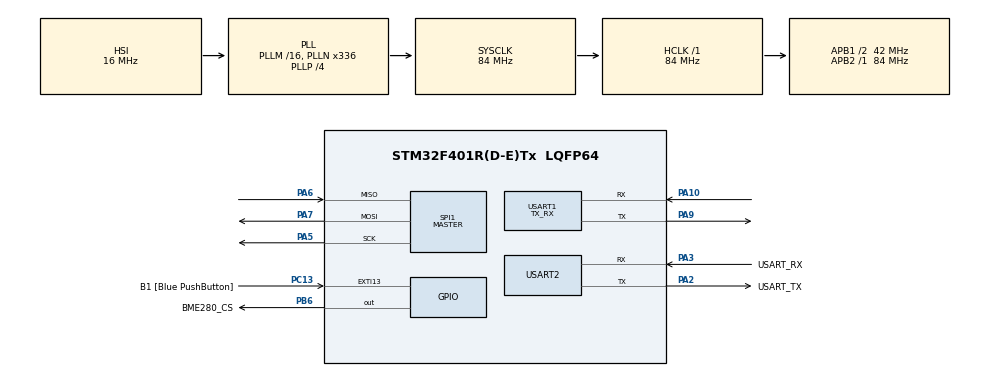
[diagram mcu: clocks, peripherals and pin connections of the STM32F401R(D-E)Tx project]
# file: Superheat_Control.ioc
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FREERTOS.Queues01=SimTempQueue,1,double,0,Dynamic,NULL,NULL;ValveOutputQueue,1,double,0,Dynamic,NULL,NULL
FREERTOS.Tasks01=LinkTask,32,512,StartLinkTask,Default,NULL,Dynamic,NULL,NULL;SensorTask,24,256,StartSensorTask,Default,NULL,Dynamic,NULL,NULL;ControlTask,24,512,StartControlTask,Default,NULL,Dynamic,NULL,NULL
Mcu.Family=STM32F4
Mcu.Name=STM32F401R(D-E)Tx
Mcu.Package=LQFP64
NVIC.PriorityGroup=NVIC_PRIORITYGROUP_4
NVIC.USART1_IRQn=true\:5\:0\:false\:false\:true\:true\:true\:true\:true
PA10.Mode=Asynchronous
PA10.Signal=USART1_RX
PA13.GPIO_Label=TMS
PA13.Mode=Trace_Asynchronous_SW
PA13.Signal=SYS_JTMS-SWDIO
PA14.GPIO_Label=TCK
PA14.Mode=Trace_Asynchronous_SW
PA14.Signal=SYS_JTCK-SWCLK
PA2.GPIO_Label=USART_TX
PA2.GPIO_Mode=GPIO_MODE_AF_PP
PA2.GPIO_PuPd=GPIO_NOPULL
PA2.GPIO_Speed=GPIO_SPEED_FREQ_LOW
PA2.Mode=Asynchronous
PA2.Signal=USART2_TX
PA3.GPIO_Label=USART_RX
PA3.GPIO_Mode=GPIO_MODE_AF_PP
PA3.GPIO_PuPd=GPIO_NOPULL
PA3.GPIO_Speed=GPIO_SPEED_FREQ_LOW
PA3.Mode=Asynchronous
PA3.Signal=USART2_RX
PA5.Mode=Full_Duplex_Master
PA5.Signal=SPI1_SCK
PA6.Mode=Full_Duplex_Master
PA6.Signal=SPI1_MISO
PA7.Mode=Full_Duplex_Master
PA7.Signal=SPI1_MOSI
PA9.Mode=Asynchronous
PA9.Signal=USART1_TX
PB3.GPIO_Label=SWO
PB3.Mode=Trace_Asynchronous_SW
PB3.Signal=SYS_JTDO-SWO
PB6.GPIO_Label=BME280_CS
PB6.GPIO_ModeDefaultOutputPP=GPIO_MODE_OUTPUT_PP
PB6.GPIO_PuPd=GPIO_NOPULL
PB6.Signal=GPIO_Output
PC13-ANTI_TAMP.GPIO_Label=B1 [Blue PushButton]
PC13-ANTI_TAMP.GPIO_ModeDefaultEXTI=GPIO_MODE_IT_FALLING
PC13-ANTI_TAMP.GPIO_PuPd=GPIO_NOPULL
PC13-ANTI_TAMP.Signal=GPXTI13
PC14-OSC32_IN.Mode=LSE-External-Oscillator
PC14-OSC32_IN.Signal=RCC_OSC32_IN
PC15-OSC32_OUT.Mode=LSE-External-Oscillator
PC15-OSC32_OUT.Signal=RCC_OSC32_OUT
PH0\ -\ OSC_IN.Mode=HSE-External-Clock-Source
PH0\ -\ OSC_IN.Signal=RCC_OSC_IN
PH1\ -\ OSC_OUT.Mode=HSE-External-Clock-Source
PH1\ -\ OSC_OUT.Signal=RCC_OSC_OUT
ProjectManager.HeapSize=0x200
ProjectManager.StackSize=0x400
ProjectManager.TargetToolchain=CMake
RCC.48MHZClocksFreq_Value=48000000
RCC.AHBFreq_Value=84000000
RCC.APB1CLKDivider=RCC_HCLK_DIV2
RCC.APB1Freq_Value=42000000
RCC.APB1TimFreq_Value=84000000
RCC.APB2Freq_Value=84000000
RCC.APB2TimFreq_Value=84000000
RCC.CortexFreq_Value=84000000
RCC.HCLKFreq_Value=84000000
RCC.HSE_VALUE=8000000
RCC.HSI_VALUE=16000000
RCC.PLLN=336
RCC.PLLP=RCC_PLLP_DIV4
RCC.PLLQ=7
RCC.SYSCLKFreq_VALUE=84000000
RCC.SYSCLKSource=RCC_SYSCLKSOURCE_PLLCLK
RCC.VCOOutputFreq_Value=336000000
SPI1.BaudRatePrescaler=SPI_BAUDRATEPRESCALER_16
SPI1.CLKPhase=SPI_PHASE_1EDGE
SPI1.CLKPolarity=SPI_POLARITY_LOW
SPI1.DataSize=SPI_DATASIZE_8BIT
SPI1.Direction=SPI_DIRECTION_2LINES
SPI1.FirstBit=SPI_FIRSTBIT_MSB
SPI1.Mode=SPI_MODE_MASTER
SPI1.VirtualType=VM_MASTER
USART1.Mode=MODE_TX_RX
USART1.OverSampling=UART_OVERSAMPLING_16
USART1.Parity=PARITY_NONE
USART1.StopBits=STOPBITS_1
USART1.VirtualMode=VM_ASYNC
USART1.WordLength=WORDLENGTH_8B
USART2.VirtualMode=VM_ASYNC
VP_FREERTOS_VS_CMSIS_V2.Mode=CMSIS_V2
board=NUCLEO-F401RE

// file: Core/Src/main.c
/* USER CODE BEGIN Header */
/**
  ******************************************************************************
  * @file           : main.c
  * @brief          : Main program body
  ******************************************************************************
  * @attention
  *
  * Copyright (c) 2026 STMicroelectronics.
  * All rights reserved.
  *
  * This software is licensed under terms that can be found in the LICENSE file
  * in the root directory of this software component.
  * If no LICENSE file comes with this software, it is provided AS-IS.
  *
  ******************************************************************************
  */
/* USER CODE END Header */
#include "main.h"
#include "cmsis_os.h"

/* USER CODE BEGIN Includes */
#include "pid.h"
#include "bme280.h"
#include "i2c1_bus.h"
#include "lcd2004.h"
#include "FreeRTOS.h"
#include "task.h"
#include <math.h>
#include <stdio.h>
#include <string.h>
/* USER CODE END Includes */

/* USER CODE BEGIN PD */
#define PID_KP        0.1
#define PID_KI        0.015
#define PID_TS        1.0
#define PID_OUT_MIN   0.1
#define PID_OUT_MAX   0.9

#define LINK_RX_BUF_LEN   32
#define SETPOINT_DEGC     10.0 /* superheat setpoint, degC */
/* USER CODE END PD */

SPI_HandleTypeDef hspi1;

UART_HandleTypeDef huart1;
UART_HandleTypeDef huart2;

/* Definitions for LinkTask */
osThreadId_t LinkTaskHandle;
const osThreadAttr_t LinkTask_attributes = {
  .name = "LinkTask",
  .stack_size = 512 * 4,
  .priority = (osPriority_t) osPriorityAboveNormal,
};
/* Definitions for SensorTask */
osThreadId_t SensorTaskHandle;
const osThreadAttr_t SensorTask_attributes = {
  .name = "SensorTask",
  .stack_size = 256 * 4,
  .priority = (osPriority_t) osPriorityNormal,
};
/* Definitions for ControlTask */
osThreadId_t ControlTaskHandle;
const osThreadAttr_t ControlTask_attributes = {
  .name = "ControlTask",
  .stack_size = 512 * 4,
  .priority = (osPriority_t) osPriorityNormal,
};
/* Definitions for SimTempQueue */
osMessageQueueId_t SimTempQueueHandle;
const osMessageQueueAttr_t SimTempQueue_attributes = {
  .name = "SimTempQueue"
};
/* Definitions for ValveOutputQueue */
osMessageQueueId_t ValveOutputQueueHandle;
const osMessageQueueAttr_t ValveOutputQueue_attributes = {
  .name = "ValveOutputQueue"
};
/* USER CODE BEGIN PV */
static PID_t pid;

/* Interrupt-driven USART1 line reception. HAL_UART_Receive_IT is re-armed for
 * one byte at a time from the RxCpltCallback, so incoming bytes are captured
 * by the peripheral/ISR regardless of what the main loop is doing, avoiding
 * the overrun that polling HAL_UART_Receive suffered from. When a full line is
 * assembled the ISR sends LinkTask a task notification, so LinkTask blocks
 * until the line is ready instead of polling link_rx_line_ready. */
static uint8_t link_rx_byte;
static char link_rx_line[LINK_RX_BUF_LEN];
static volatile uint16_t link_rx_len = 0;
static volatile uint8_t link_rx_line_ready = 0;

/* Latest BME280 ambient reading, written by SensorTask and read by LinkTask
 * (sent to Board 2 as the plant's load disturbance) and ControlTask (logged).
 * Kept as a float rather than a double on purpose: an aligned 32-bit load or
 * store is a single atomic access on the Cortex-M4, so readers can never see
 * a half-written value and no mutex is needed. NAN means "no valid reading"
 * (sensor missing or bus error), in which case Board 2 is sent no ambient. */
static volatile float latest_bme280_degC = NAN;
static int bme280_ok = 0;

/* Latest loop values for the LCD, written by ControlTask and read by
 * DisplayTask. Floats for the same single-access atomicity reason as above. */
static volatile float display_superheat_degC = NAN;
static volatile float display_valve = NAN;

/* DisplayTask is created in the RTOS_THREADS user section rather than through
 * CubeMX, so its definition lives here instead of in the generated block. */
osThreadId_t DisplayTaskHandle;
const osThreadAttr_t DisplayTask_attributes = {
  .name = "DisplayTask",
  .stack_size = 512 * 4, /* snprintf float formatting is stack-heavy */
  .priority = (osPriority_t) osPriorityBelowNormal,
};
/* USER CODE END PV */

void SystemClock_Config(void);
static void MX_GPIO_Init(void);
static void MX_USART2_UART_Init(void);
static void MX_SPI1_Init(void);
static void MX_USART1_UART_Init(void);
void StartLinkTask(void *argument);
void StartSensorTask(void *argument);
void StartControlTask(void *argument);

/* USER CODE BEGIN PFP */
static void StartDisplayTask(void *argument);
/* USER CODE END PFP */

/* USER CODE BEGIN 0 */
void vApplicationStackOverflowHook(TaskHandle_t xTask, char *pcTaskName)
{
  (void)xTask;
  printf("!!! STACK OVERFLOW in task: %s\r\n", pcTaskName);
  __disable_irq();
  for (;;) { }
}

void vApplicationMallocFailedHook(void)
{
  printf("!!! FreeRTOS heap allocation failed (out of heap)\r\n");
  __disable_irq();
  for (;;) { }
}

int __io_putchar(int ch)
{
  HAL_UART_Transmit(&huart2, (uint8_t *)&ch, 1, HAL_MAX_DELAY);
  return ch;
}

/* Called from USART1_IRQHandler via HAL_UART_IRQHandler whenever one byte has
 * been received. Assembles line_rx_line and re-arms the next single-byte
 * receive so bytes are never missed while the main loop is busy elsewhere. */
void HAL_UART_RxCpltCallback(UART_HandleTypeDef *huart)
{
  if (huart->Instance != USART1)
  {
    return;
  }

  uint8_t ch = link_rx_byte;
  BaseType_t higher_priority_woken = pdFALSE;

  if (!link_rx_line_ready)
  {
    if (ch == '\n')
    {
      link_rx_line[link_rx_len] = '\0';
      link_rx_line_ready = 1;

      /* Wake LinkTask. USART1 runs at NVIC priority 5, which is allowed to
       * call FromISR APIs (configMAX_SYSCALL_INTERRUPT_PRIORITY). The guard
       * covers bytes arriving before the scheduler has started. */
      if ((LinkTaskHandle != NULL) &&
          (xTaskGetSchedulerState() != taskSCHEDULER_NOT_STARTED))
      {
        vTaskNotifyGiveFromISR((TaskHandle_t)LinkTaskHandle, &higher_priority_woken);
      }
    }
    else if (ch != '\r')
    {
      if (link_rx_len < LINK_RX_BUF_LEN - 1)
      {
        link_rx_line[link_rx_len++] = (char)ch;
      }
      else
      {
        /* Line too long: drop it and resync on the next '\n'. */
        link_rx_len = 0;
      }
    }
  }

  HAL_UART_Receive_IT(&huart1, &link_rx_byte, 1);

  /* If LinkTask outranks the interrupted task, switch to it on exit. */
  portYIELD_FROM_ISR(higher_priority_woken);
}

/* Blocks (with a 500 ms timeout) until HAL_UART_RxCpltCallback has assembled
 * one "<tick>,<value>\r\n" line from USART1 and notified this task. Returns 1
 * on success. The flag is re-checked after each wake-up, so a stale
 * notification left over from an earlier late reply can't end the wait early. */
static int Link_ReceiveLine(unsigned long *tick, double *value)
{
  uint32_t start = HAL_GetTick();

  while (!link_rx_line_ready)
  {
    uint32_t elapsed = HAL_GetTick() - start;

    if (elapsed >= 500)
    {
      return 0;
    }

    ulTaskNotifyTake(pdTRUE, pdMS_TO_TICKS(500 - elapsed));
  }

  int ok = (link_rx_len > 0) && (sscanf(link_rx_line, "%lu,%lf", tick, value) == 2);

  link_rx_len = 0;
  link_rx_line_ready = 0;

  return ok;
}

/* Sends "<tick>,<valve>,<ambient>\r\n" to Board 2, or "<tick>,<valve>\r\n"
 * when there is no valid ambient reading - Board 2 then holds the last
 * disturbance it received. */
static void Link_SendLine(unsigned long tick, double value, float ambient_degC)
{
  char out[LINK_RX_BUF_LEN];
  int n;

  if (isnan(ambient_degC))
  {
    n = snprintf(out, sizeof(out), "%lu,%.4f\r\n", tick, value);
  }
  else
  {
    n = snprintf(out, sizeof(out), "%lu,%.4f,%.2f\r\n", tick, value, (double)ambient_degC);
  }

  if (n < 0 || n >= (int)sizeof(out))
  {
    return; /* would have been truncated - never send a partial frame */
  }

  HAL_UART_Transmit(&huart1, (uint8_t *)out, (uint16_t)n, 100);
}
/* USER CODE END 0 */

int main(void)
{

  /* MCU Configuration--------------------------------------------------------*/

  /* Reset of all peripherals, Initializes the Flash interface and the Systick. */
  HAL_Init();

  /* Configure the system clock */
  SystemClock_Config();

  /* Initialize all configured peripherals */
  MX_GPIO_Init();
  MX_USART2_UART_Init();
  MX_SPI1_Init();
  MX_USART1_UART_Init();
  /* USER CODE BEGIN 2 */
  HAL_UART_Receive_IT(&huart1, &link_rx_byte, 1);

  uint8_t chip_id = 0;
  bme280_ok = (BME280_Init(&bme280_bus, &chip_id) == 0);
  if (bme280_ok)
  {
    printf("# BME280 over %s, chip_id=0x%02X\r\n", bme280_bus.name, chip_id);
  }
  else
  {
    printf("# BME280 over %s not found (chip_id=0x%02X, expect 0x%02X) - running without ambient disturbance\r\n",
           bme280_bus.name, chip_id, BME280_CHIP_ID_VALUE);
  }

  PID_Init(&pid, PID_KP, PID_KI, PID_TS, PID_OUT_MIN, PID_OUT_MAX);

  printf("tick,bme280_degC,plant_degC,valve,setpoint_degC\r\n");
  /* USER CODE END 2 */

  /* Init scheduler */
  osKernelInitialize();

  /* USER CODE BEGIN RTOS_MUTEX */
  /* SensorTask (I2C build) and DisplayTask share I2C1 */
  I2C1_CreateMutex();
  /* USER CODE END RTOS_MUTEX */

  /* Create the queue(s) */
  /* creation of SimTempQueue */
  SimTempQueueHandle = osMessageQueueNew (1, sizeof(double), &SimTempQueue_attributes);

  /* creation of ValveOutputQueue */
  ValveOutputQueueHandle = osMessageQueueNew (1, sizeof(double), &ValveOutputQueue_attributes);

  /* Create the thread(s) */
  /* creation of LinkTask */
  LinkTaskHandle = osThreadNew(StartLinkTask, NULL, &LinkTask_attributes);

  /* creation of SensorTask */
  SensorTaskHandle = osThreadNew(StartSensorTask, NULL, &SensorTask_attributes);

  /* creation of ControlTask */
  ControlTaskHandle = osThreadNew(StartControlTask, NULL, &ControlTask_attributes);

  /* USER CODE BEGIN RTOS_THREADS */
  DisplayTaskHandle = osThreadNew(StartDisplayTask, NULL, &DisplayTask_attributes);
  /* USER CODE END RTOS_THREADS */

  /* Start scheduler */
  osKernelStart();

  /* We should never get here as control is now taken by the scheduler */

  /* Infinite loop */
  while (1)
  {

  }
}

void SystemClock_Config(void)
{
  RCC_OscInitTypeDef RCC_OscInitStruct = {0};
  RCC_ClkInitTypeDef RCC_ClkInitStruct = {0};

  /** Configure the main internal regulator output voltage
  */
  __HAL_RCC_PWR_CLK_ENABLE();
  __HAL_PWR_VOLTAGESCALING_CONFIG(PWR_REGULATOR_VOLTAGE_SCALE2);

  /** Initializes the RCC Oscillators according to the specified parameters
  * in the RCC_OscInitTypeDef structure.
  */
  RCC_OscInitStruct.OscillatorType = RCC_OSCILLATORTYPE_HSI;
  RCC_OscInitStruct.HSIState = RCC_HSI_ON;
  RCC_OscInitStruct.HSICalibrationValue = RCC_HSICALIBRATION_DEFAULT;
  RCC_OscInitStruct.PLL.PLLState = RCC_PLL_ON;
  RCC_OscInitStruct.PLL.PLLSource = RCC_PLLSOURCE_HSI;
  RCC_OscInitStruct.PLL.PLLM = 16;
  RCC_OscInitStruct.PLL.PLLN = 336;
  RCC_OscInitStruct.PLL.PLLP = RCC_PLLP_DIV4;
  RCC_OscInitStruct.PLL.PLLQ = 7;
  if (HAL_RCC_OscConfig(&RCC_OscInitStruct) != HAL_OK)
  {
    Error_Handler();
  }

  /** Initializes the CPU, AHB and APB buses clocks
  */
  RCC_ClkInitStruct.ClockType = RCC_CLOCKTYPE_HCLK|RCC_CLOCKTYPE_SYSCLK
                              |RCC_CLOCKTYPE_PCLK1|RCC_CLOCKTYPE_PCLK2;
  RCC_ClkInitStruct.SYSCLKSource = RCC_SYSCLKSOURCE_PLLCLK;
  RCC_ClkInitStruct.AHBCLKDivider = RCC_SYSCLK_DIV1;
  RCC_ClkInitStruct.APB1CLKDivider = RCC_HCLK_DIV2;
  RCC_ClkInitStruct.APB2CLKDivider = RCC_HCLK_DIV1;

  if (HAL_RCC_ClockConfig(&RCC_ClkInitStruct, FLASH_LATENCY_2) != HAL_OK)
  {
    Error_Handler();
  }
}

static void MX_SPI1_Init(void)
{

  /* SPI1 parameter configuration*/
  hspi1.Instance = SPI1;
  hspi1.Init.Mode = SPI_MODE_MASTER;
  hspi1.Init.Direction = SPI_DIRECTION_2LINES;
  hspi1.Init.DataSize = SPI_DATASIZE_8BIT;
  hspi1.Init.CLKPolarity = SPI_POLARITY_LOW;
  hspi1.Init.CLKPhase = SPI_PHASE_1EDGE;
  hspi1.Init.NSS = SPI_NSS_SOFT;
  hspi1.Init.BaudRatePrescaler = SPI_BAUDRATEPRESCALER_16;
  hspi1.Init.FirstBit = SPI_FIRSTBIT_MSB;
  hspi1.Init.TIMode = SPI_TIMODE_DISABLE;
  hspi1.Init.CRCCalculation = SPI_CRCCALCULATION_DISABLE;
  hspi1.Init.CRCPolynomial = 10;
  if (HAL_SPI_Init(&hspi1) != HAL_OK)
  {
    Error_Handler();
  }

}

static void MX_USART1_UART_Init(void)
{

  huart1.Instance = USART1;
  huart1.Init.BaudRate = 115200;
  huart1.Init.WordLength = UART_WORDLENGTH_8B;
  huart1.Init.StopBits = UART_STOPBITS_1;
  huart1.Init.Parity = UART_PARITY_NONE;
  huart1.Init.Mode = UART_MODE_TX_RX;
  huart1.Init.HwFlowCtl = UART_HWCONTROL_NONE;
  huart1.Init.OverSampling = UART_OVERSAMPLING_16;
  if (HAL_UART_Init(&huart1) != HAL_OK)
  {
    Error_Handler();
  }

}

static void MX_USART2_UART_Init(void)
{

  huart2.Instance = USART2;
  huart2.Init.BaudRate = 115200;
  huart2.Init.WordLength = UART_WORDLENGTH_8B;
  huart2.Init.StopBits = UART_STOPBITS_1;
  huart2.Init.Parity = UART_PARITY_NONE;
  huart2.Init.Mode = UART_MODE_TX_RX;
  huart2.Init.HwFlowCtl = UART_HWCONTROL_NONE;
  huart2.Init.OverSampling = UART_OVERSAMPLING_16;
  if (HAL_UART_Init(&huart2) != HAL_OK)
  {
    Error_Handler();
  }

}

static void MX_GPIO_Init(void)
{
  GPIO_InitTypeDef GPIO_InitStruct = {0};

  /* GPIO Ports Clock Enable */
  __HAL_RCC_GPIOC_CLK_ENABLE();
  __HAL_RCC_GPIOH_CLK_ENABLE();
  __HAL_RCC_GPIOA_CLK_ENABLE();
  __HAL_RCC_GPIOB_CLK_ENABLE();

  /*Configure GPIO pin Output Level */
  HAL_GPIO_WritePin(BME280_CS_GPIO_Port, BME280_CS_Pin, GPIO_PIN_RESET);

  /*Configure GPIO pin : B1_Pin */
  GPIO_InitStruct.Pin = B1_Pin;
  GPIO_InitStruct.Mode = GPIO_MODE_IT_FALLING;
  GPIO_InitStruct.Pull = GPIO_NOPULL;
  HAL_GPIO_Init(B1_GPIO_Port, &GPIO_InitStruct);

  /*Configure GPIO pin : BME280_CS_Pin */
  GPIO_InitStruct.Pin = BME280_CS_Pin;
  GPIO_InitStruct.Mode = GPIO_MODE_OUTPUT_PP;
  GPIO_InitStruct.Pull = GPIO_NOPULL;
  GPIO_InitStruct.Speed = GPIO_SPEED_FREQ_LOW;
  HAL_GPIO_Init(BME280_CS_GPIO_Port, &GPIO_InitStruct);

}

/* USER CODE BEGIN 4 */
static void rtos_delay_ms(uint32_t ms)
{
  osDelay(ms); /* configTICK_RATE_HZ is 1000, so ticks == ms */
}

/* One LCD row as a label, a right-aligned value and a unit, e.g.
 * "Superheat   10.2 °C". NaN (no data yet) shows as "--.-". */
static void DisplayRow(uint8_t row, const char *label, float value, const char *unit)
{
  char line[LCD2004_COLS + 1];

  if (isnan(value))
  {
    snprintf(line, sizeof(line), "%-10s  --.- %s", label, unit);
  }
  else
  {
    snprintf(line, sizeof(line), "%-10s%6.1f %s", label, (double)value, unit);
  }
  LCD2004_WriteLine(row, line);
}

/* Shows the live loop state on the 20x4 LCD:
 *   Superheat   10.2 °C
 *   Setpoint    10.0 °C
 *   Valve       50.0 %
 *   Ambient     23.4 °C
 * Lowest-priority task, since the display is for the operator only and must
 * never delay the control or link tasks. */
static void StartDisplayTask(void *argument)
{
  (void)argument;
  /* 0xDF is the degree sign in the HD44780's A00 character ROM. Kept as a
   * separate literal so the hex escape doesn't swallow the 'C'. */
  static const char deg_c[] = "\xDF" "C";

  if (LCD2004_Init(rtos_delay_ms) != 0)
  {
    printf("# LCD not found at I2C address 0x%02X - display disabled\r\n", LCD2004_I2C_ADDR);
    osThreadExit();
  }

  for (;;)
  {
    float valve = display_valve;

    DisplayRow(0, "Superheat", display_superheat_degC, deg_c);
    DisplayRow(1, "Setpoint", (float)SETPOINT_DEGC, deg_c);
    DisplayRow(2, "Valve", isnan(valve) ? valve : valve * 100.0f, "%");
    DisplayRow(3, "Ambient", latest_bme280_degC, deg_c);

    osDelay(500);
  }
}
/* USER CODE END 4 */

void StartLinkTask(void *argument)
{
  /* USER CODE BEGIN 5 */
  unsigned long tick = 0;
  double valve_output = PID_OUT_MIN;

  for(;;)
  {
    /* Pick up the latest valve output computed by ControlTask, if any new
     * one is available; otherwise keep sending the last known value. */
    osMessageQueueGet(ValveOutputQueueHandle, &valve_output, NULL, 0);

    unsigned long echoed_tick = 0;
    double received_temp = 0.0;

    Link_SendLine(tick, valve_output, latest_bme280_degC);

    if (Link_ReceiveLine(&echoed_tick, &received_temp))
    {
      osMessageQueueReset(SimTempQueueHandle);
      osMessageQueuePut(SimTempQueueHandle, &received_temp, 0, 0);
    }
    else
    {
      printf("# HIL link: malformed/missing frame, holding last simulated_temp\r\n");
    }

    tick++;
    osDelay(1000);
  }
  /* USER CODE END 5 */
}

void StartSensorTask(void *argument)
{
  /* USER CODE BEGIN StartSensorTask */
  for(;;)
  {
    if (!bme280_ok)
    {
      osDelay(1000); /* no sensor found at startup - nothing to sample */
      continue;
    }

    /* Forced mode powers down after one measurement; re-trigger each cycle */
    double temp_degC = 0.0;
    int ok = (BME280_TriggerMeasurement() == 0);
    osDelay(BME280_MEAS_TIME_MS); /* allow conversion to complete */

    if (ok && BME280_ReadTemperature(&temp_degC) == 0)
    {
      latest_bme280_degC = (float)temp_degC;
    }
    else
    {
      /* A bus error invalidates the reading rather than freezing the last
       * value, so Board 2 stops being fed a stale disturbance. */
      latest_bme280_degC = NAN;
    }

    osDelay(1000 - BME280_MEAS_TIME_MS); /* sample once per second overall */
  }
  /* USER CODE END StartSensorTask */
}

void StartControlTask(void *argument)
{
  /* USER CODE BEGIN StartControlTask */
  unsigned long tick = 0;
  double simulated_temp = 0.0;

  for(;;)
  {
    /* Use the latest simulated temp from LinkTask if a new one arrived
     * since last cycle; otherwise hold the previous value. */
    osMessageQueueGet(SimTempQueueHandle, &simulated_temp, NULL, 0);

    double valve_output = PID_Update(&pid, SETPOINT_DEGC, simulated_temp);

    osMessageQueueReset(ValveOutputQueueHandle);
    osMessageQueuePut(ValveOutputQueueHandle, &valve_output, 0, 0);

    display_superheat_degC = (float)simulated_temp;
    display_valve = (float)valve_output;

    printf("%lu,%.2f,%.4f,%.3f,%.2f\r\n",
           tick, (double)latest_bme280_degC, simulated_temp, valve_output, SETPOINT_DEGC);

    tick++;
    osDelay(1000);
  }
  /* USER CODE END StartControlTask */
}

void Error_Handler(void)
{
  __disable_irq();
  while (1)
  {
  }
}
